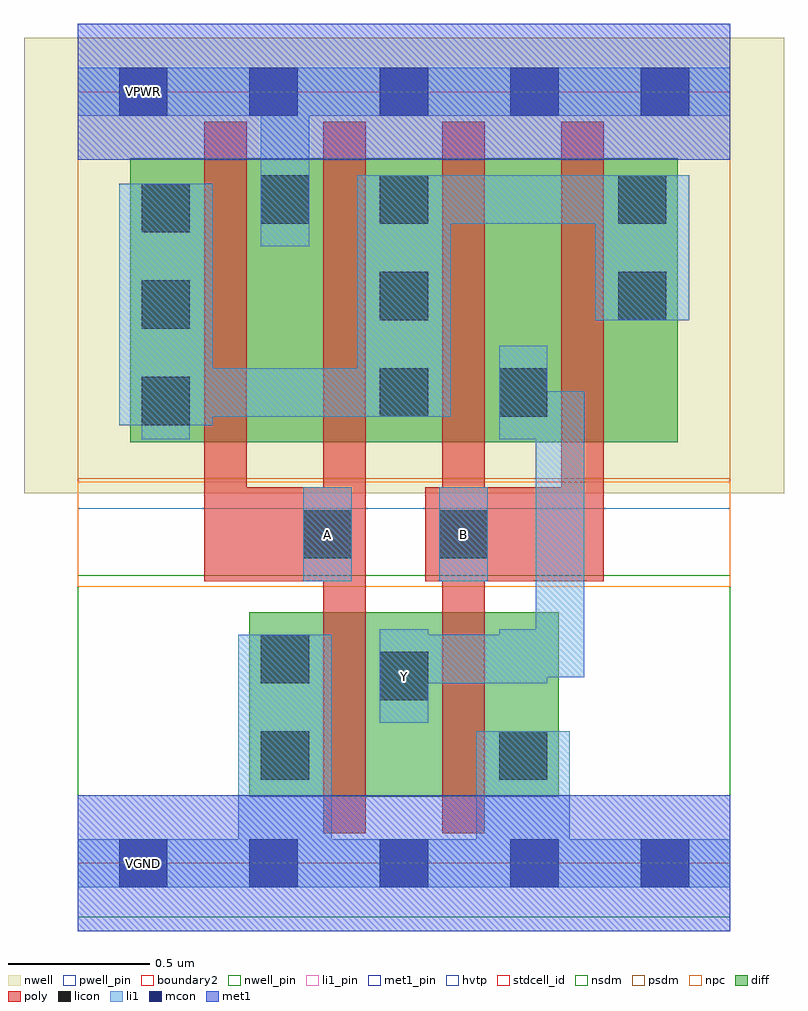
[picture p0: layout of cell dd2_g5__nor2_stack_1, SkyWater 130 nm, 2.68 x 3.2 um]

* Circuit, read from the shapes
.subckt dd2_g5__nor2_stack_1 A B VGND VNB VPB VPWR Y
XM1 Y A VGND VNB sky130_fd_pr__nfet_01v8 w=0.65 l=0.15
XM2 VGND B Y VNB sky130_fd_pr__nfet_01v8 w=0.65 l=0.15
XM3 VPWR A n1 VPB sky130_fd_pr__pfet_01v8_hvt w=1 l=0.15 m=2
XM4 Y B n1 VPB sky130_fd_pr__pfet_01v8_hvt w=1 l=0.15 m=2
.ends

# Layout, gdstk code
import gdstk
lib = gdstk.Library(unit=1e-6, precision=1e-09)
def R(c, l, rs):  # rectangles x0, y0, x1, y1
    for r in rs: c.add(gdstk.rectangle(r[:2], r[2:], *l))
def A(c, l, x, y, w, h, nx, ny, dx, dy):  # array of equal rectangles
    R(c, l, [(x+i*dx, y+j*dy, x+i*dx+w, y+j*dy+h) for i in range(nx) for j in range(ny)])
nwell_pin = (64, 16)
nwell = (64, 20)
diff = (65, 20)
poly = (66, 20)
licon = (66, 44)
li1_pin = (67, 16)
li1 = (67, 20)
mcon = (67, 44)
met1_pin = (68, 16)
met1 = (68, 20)
hvtp = (78, 44)
stdcell_id = (81, 4)
nsdm = (93, 44)
psdm = (94, 20)
npc = (95, 20)
pwell_pin = (122, 16)
boundary2 = (236, 0)

dd2_g5__nor2_stack_1 = lib.new_cell('dd2_g5__nor2_stack_1')
R(dd2_g5__nor2_stack_1, nwell_pin, [(0.145,2.635,0.315,2.805)])
R(dd2_g5__nor2_stack_1, nwell, [(-0.19,1.305,2.49,2.91)])
R(dd2_g5__nor2_stack_1, diff, [(0.605,0.235,1.36,0.885), (0.94,0.235,1.695,0.885), (0.185,1.485,0.94,2.485), (0.52,1.485,1.36,2.485), (0.94,1.485,1.78,2.485), (1.36,1.485,2.115,2.485)])
R(dd2_g5__nor2_stack_1, poly, [(0.865,0.105,1.015,2.615), (1.285,0.105,1.435,2.615), (0.445,0.995,1.015,1.325), (0.445,0.995,0.595,2.615), (0.745,0.995,1.015,1.325), (1.225,0.995,1.495,1.325), (1.285,0.995,1.855,1.325), (1.705,0.995,1.855,2.615)])
A(dd2_g5__nor2_stack_1, licon, 0.225, 1.545, 0.17, 0.17, 1, 3, 0, 0.34)
A(dd2_g5__nor2_stack_1, licon, 1.065, 1.575, 0.17, 0.17, 1, 3, 0, 0.34)
R(dd2_g5__nor2_stack_1, licon, [(0.645,0.295,0.815,0.465), (1.485,0.295,1.655,0.465), (1.065,0.575,1.235,0.745), (0.645,0.635,0.815,0.805), (0.795,1.075,0.965,1.245), (1.275,1.075,1.445,1.245), (1.485,1.575,1.655,1.745), (1.905,1.915,2.075,2.085), (0.645,2.255,0.815,2.425), (1.905,2.255,2.075,2.425)])
R(dd2_g5__nor2_stack_1, li1_pin, [(0.145,-0.085,0.315,0.085), (1.075,0.585,1.225,0.735), (0.805,1.085,0.955,1.235), (1.285,1.085,1.435,1.235), (0.145,2.635,0.315,2.805)])
R(dd2_g5__nor2_stack_1, li1, [(0,-0.085,2.3,0.085), (0.565,0.085,0.895,0.805), (1.405,0.085,1.735,0.465), (1.065,0.495,1.235,0.635), (1.065,0.635,1.655,0.655), (1.065,0.655,1.785,0.805), (1.065,0.805,1.235,0.825), (1.485,0.805,1.785,0.825), (1.615,0.825,1.785,1.495), (0.795,0.995,0.965,1.325), (1.275,0.995,1.445,1.325), (0.225,1.495,0.395,1.545), (1.485,1.495,1.785,1.665), (0.145,1.545,0.475,1.575), (0.145,1.575,1.315,1.745), (1.485,1.665,1.655,1.825), (0.145,1.745,0.475,2.395), (0.985,1.745,1.315,2.255), (1.825,1.915,2.155,2.255), (0.645,2.175,0.815,2.635), (0.985,2.255,2.155,2.425), (0,2.635,2.3,2.805)])
A(dd2_g5__nor2_stack_1, mcon, 0.145, -0.085, 0.17, 0.17, 5, 2, 0.46, 2.72)
R(dd2_g5__nor2_stack_1, met1_pin, [(0.145,-0.085,0.315,0.085), (0.145,2.635,0.315,2.805)])
R(dd2_g5__nor2_stack_1, met1, [(0,-0.24,2.3,0.24), (0,2.48,2.3,2.96)])
R(dd2_g5__nor2_stack_1, hvtp, [(0,1.25,2.3,2.72)])
R(dd2_g5__nor2_stack_1, stdcell_id, [(0,0,2.3,2.72)])
R(dd2_g5__nor2_stack_1, nsdm, [(0,-0.19,2.3,1.015)])
R(dd2_g5__nor2_stack_1, psdm, [(0,1.355,2.3,2.91)])
R(dd2_g5__nor2_stack_1, npc, [(0,0.975,2.3,1.345)])
R(dd2_g5__nor2_stack_1, pwell_pin, [(0.145,-0.085,0.315,0.085)])
R(dd2_g5__nor2_stack_1, boundary2, [(0,0,2.3,2.72)])
dd2_g5__nor2_stack_1.add(gdstk.Label('VPWR', (0.23,2.72), layer=68, texttype=5))
dd2_g5__nor2_stack_1.add(gdstk.Label('VGND', (0.23,0), layer=68, texttype=5))
dd2_g5__nor2_stack_1.add(gdstk.Label('VPWR', (0.23,2.72), layer=67, texttype=5))
dd2_g5__nor2_stack_1.add(gdstk.Label('VGND', (0.23,0), layer=67, texttype=5))
dd2_g5__nor2_stack_1.add(gdstk.Label('A', (0.88,1.16), layer=67, texttype=5))
dd2_g5__nor2_stack_1.add(gdstk.Label('B', (1.36,1.16), layer=67, texttype=5))
dd2_g5__nor2_stack_1.add(gdstk.Label('Y', (1.15,0.66), layer=67, texttype=5))
dd2_g5__nor2_stack_1.add(gdstk.Label('VPB', (0.23,2.72), layer=64, texttype=5))
dd2_g5__nor2_stack_1.add(gdstk.Label('VNB', (0.23,0), layer=64, texttype=59))

lib.write_gds('dd2_g5__nor2_stack_1.gds')
